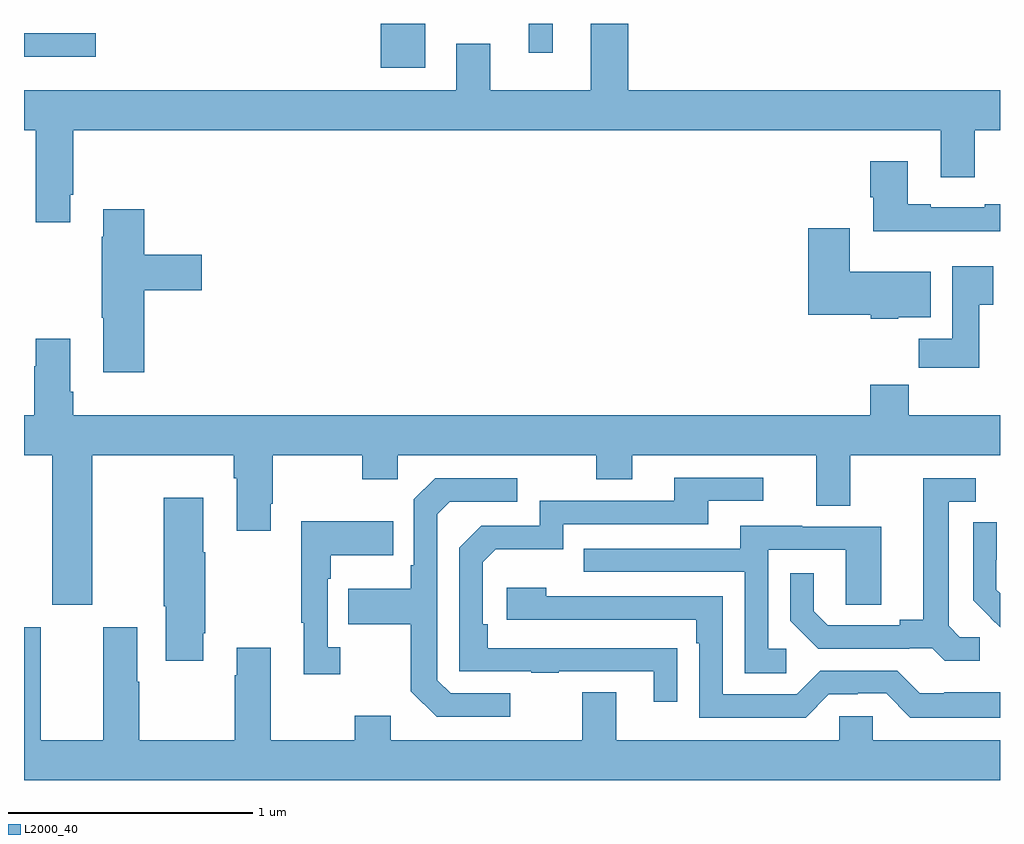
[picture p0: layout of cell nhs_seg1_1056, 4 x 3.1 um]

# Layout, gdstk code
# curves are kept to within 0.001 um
import gdstk
lib = gdstk.Library(unit=1e-6, precision=1e-09)
def R(c, l, rs):  # rectangles x0, y0, x1, y1
    for r in rs: c.add(gdstk.rectangle(r[:2], r[2:], *l))
def P(c, l, *ps):  # polygons
    for p in ps: c.add(gdstk.Polygon(p, *l))
L2000_40 = (2000, 40)

nhs_seg1_1056 = lib.new_cell('nhs_seg1_1056')
R(nhs_seg1_1056, L2000_40, [(170.462,520.019,170.644,520.199), (169,520.064,169.294,520.161), (171.068,520.08,171.166,520.199)])
P(nhs_seg1_1056, L2000_40, [(169.189,519.499),(169.202,519.499),(169.202,519.764),(172.757,519.764),(172.757,519.57),(172.897,519.57),(172.897,519.764),(173,519.764),(173,519.928),(171.476,519.928),(171.476,520.199),(171.323,520.199),(171.323,519.928),(170.911,519.928),(170.911,520.118),(170.771,520.118),(170.771,519.928),(169,519.928),(169,519.764),(169.049,519.764),(169.049,519.387),(169.189,519.387)],
  [(173,519.46),(172.937,519.46),(172.937,519.447),(172.717,519.447),(172.717,519.46),(172.621,519.46),(172.621,519.637),(172.469,519.637),(172.469,519.489),(172.481,519.489),(172.481,519.35),(173,519.35)],
  [(169.493,519.107),(169.729,519.107),(169.729,519.254),(169.493,519.254),(169.493,519.439),(169.325,519.439),(169.325,519.326),(169.318,519.326),(169.318,518.995),(169.325,518.995),(169.325,518.772),(169.493,518.772)],
  [(172.584,518.996),(172.717,518.996),(172.717,519.184),(172.384,519.184),(172.384,519.361),(172.214,519.361),(172.214,519.008),(172.47,519.008),(172.47,518.99),(172.584,518.99)],
  [(172.915,519.049),(172.972,519.049),(172.972,519.205),(172.805,519.205),(172.805,518.908),(172.666,518.908),(172.666,518.79),(172.915,518.79)],
  [(169.279,518.432),(169.859,518.432),(169.859,518.336),(169.871,518.336),(169.871,518.121),(170.011,518.121),(170.011,518.233),(170.019,518.233),(170.019,518.432),(170.386,518.432),(170.386,518.333),(170.532,518.333),(170.532,518.432),(171.346,518.432),(171.346,518.333),(171.493,518.333),(171.493,518.432),(172.247,518.432),(172.247,518.224),(172.387,518.224),(172.387,518.432),(173,518.432),(173,518.596),(172.625,518.596),(172.625,518.72),(172.469,518.72),(172.469,518.596),(169.202,518.596),(169.202,518.692),(169.189,518.692),(169.189,518.908),(169.049,518.908),(169.049,518.795),(169.042,518.795),(169.042,518.596),(169,518.596),(169,518.432),(169.115,518.432),(169.115,517.818),(169.279,517.818)],
  [(171.677,517.64),(170.9,517.641),(170.9,517.738),(170.88,517.738),(170.88,517.992),(170.933,518.045),(171.21,518.045),(171.21,518.148),(171.805,518.148),(171.805,518.244),(172.03,518.244),(172.03,518.34),(171.665,518.34),(171.665,518.244),(171.114,518.244),(171.114,518.142),(170.874,518.142),(170.784,518.052),(170.784,517.545),(171.079,517.545),(171.079,517.54),(171.191,517.54),(171.191,517.545),(171.581,517.545),(171.581,517.422),(171.677,517.422)],
  [(172.918,517.686),(172.836,517.686),(172.789,517.733),(172.789,518.241),(172.9,518.241),(172.9,518.337),(172.685,518.337),(172.685,517.757),(172.589,517.757),(172.589,517.734),(172.294,517.734),(172.237,517.791),(172.237,517.948),(172.14,517.948),(172.14,517.754),(172.256,517.638),(172.628,517.638),(172.628,517.641),(172.722,517.641),(172.774,517.589),(172.918,517.589)],
  [(170.992,517.455),(170.748,517.455),(170.694,517.509),(170.694,518.19),(170.745,518.241),(171.022,518.241),(171.022,518.337),(170.685,518.337),(170.598,518.25),(170.598,517.981),(170.586,517.981),(170.586,517.885),(170.329,517.885),(170.329,517.738),(170.586,517.738),(170.586,517.465),(170.691,517.359),(170.992,517.359)],
  [(169.735,517.702),(169.743,517.702),(169.743,518.033),(169.735,518.033),(169.735,518.257),(169.573,518.257),(169.573,517.813),(169.58,517.813),(169.58,517.59),(169.735,517.59)],
  [(170.296,517.645),(170.244,517.645),(170.244,517.925),(170.257,517.925),(170.257,518.021),(170.513,518.021),(170.513,518.161),(170.136,518.161),(170.136,517.745),(170.147,517.745),(170.147,517.533),(170.296,517.533)],
  [(173,517.865),(172.985,517.88),(172.985,518.002),(172.986,518.002),(172.986,518.156),(172.89,518.156),(172.89,517.838),(172.963,517.765),(172.962,517.764),(173,517.726)],
  [(172.123,517.638),(172.05,517.638),(172.05,518.043),(172.368,518.043),(172.368,517.819),(172.513,517.819),(172.513,518.139),(172.189,518.139),(172.189,518.143),(171.935,518.143),(171.935,518.049),(171.295,518.049),(171.295,517.953),(171.954,517.953),(171.954,517.537),(172.123,517.537)],
  [(173,517.459),(172.771,517.459),(172.771,517.455),(172.671,517.455),(172.578,517.548),(172.263,517.548),(172.167,517.452),(171.864,517.452),(171.864,517.854),(171.14,517.854),(171.14,517.888),(170.979,517.888),(170.979,517.758),(171.755,517.758),(171.755,517.661),(171.768,517.661),(171.768,517.356),(172.203,517.356),(172.299,517.452),(172.418,517.452),(172.418,517.455),(172.533,517.455),(172.633,517.355),(173,517.355)],
  [(173,517.264),(172.479,517.264),(172.479,517.362),(172.341,517.362),(172.341,517.264),(171.427,517.264),(171.427,517.459),(171.287,517.459),(171.287,517.264),(170.503,517.264),(170.503,517.363),(170.356,517.363),(170.356,517.264),(170.011,517.264),(170.011,517.642),(169.871,517.642),(169.871,517.529),(169.864,517.529),(169.864,517.264),(169.473,517.264),(169.473,517.502),(169.465,517.502),(169.465,517.726),(169.325,517.726),(169.325,517.264),(169.069,517.264),(169.069,517.726),(169,517.726),(169,517.1),(173,517.1)])

lib.write_gds('nhs_seg1_1056.gds')
